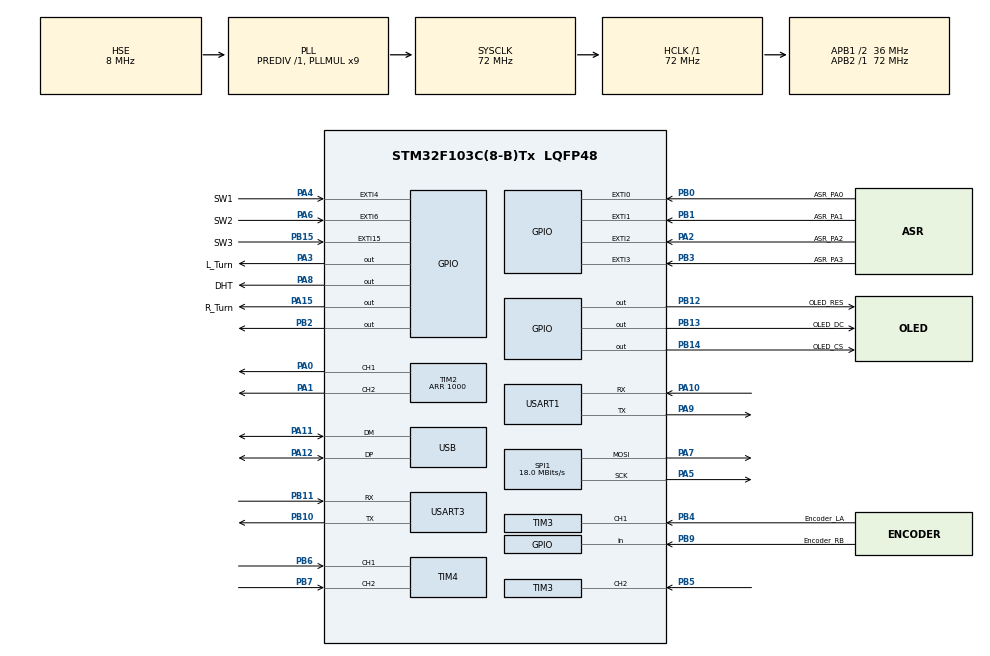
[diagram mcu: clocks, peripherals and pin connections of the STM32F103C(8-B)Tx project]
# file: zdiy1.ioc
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Mcu.Family=STM32F1
Mcu.Name=STM32F103C(8-B)Tx
Mcu.Package=LQFP48
NVIC.EXTI0_IRQn=true\:0\:0\:false\:false\:true\:true\:true\:true
NVIC.EXTI15_10_IRQn=true\:0\:0\:false\:false\:true\:true\:true\:true
NVIC.EXTI1_IRQn=true\:0\:0\:false\:false\:true\:true\:true\:true
NVIC.EXTI2_IRQn=true\:0\:0\:false\:false\:true\:true\:true\:true
NVIC.EXTI3_IRQn=true\:0\:0\:false\:false\:true\:true\:true\:true
NVIC.EXTI4_IRQn=true\:0\:0\:false\:false\:true\:true\:true\:true
NVIC.EXTI9_5_IRQn=true\:0\:0\:false\:false\:true\:true\:true\:true
NVIC.PriorityGroup=NVIC_PRIORITYGROUP_4
NVIC.TIM1_UP_IRQn=true\:0\:0\:false\:false\:true\:true\:true\:true
NVIC.USART1_IRQn=true\:0\:0\:false\:false\:true\:true\:true\:true
NVIC.USART3_IRQn=true\:0\:0\:false\:false\:true\:true\:true\:true
NVIC.USB_LP_CAN1_RX0_IRQn=true\:0\:0\:false\:false\:true\:false\:true\:true
PA0-WKUP.Signal=S_TIM2_CH1_ETR
PA1.Signal=S_TIM2_CH2
PA10.Mode=Asynchronous
PA10.Signal=USART1_RX
PA11.Mode=Device
PA11.Signal=USB_DM
PA12.Mode=Device
PA12.Signal=USB_DP
PA13.Mode=Serial_Wire
PA13.Signal=SYS_JTMS-SWDIO
PA14.Mode=Serial_Wire
PA14.Signal=SYS_JTCK-SWCLK
PA15.GPIO_Label=R_Turn
PA15.GPIO_PuPd=GPIO_PULLUP
PA15.Signal=GPIO_Output
PA2.GPIO_Label=ASR_PA2
PA2.GPIO_PuPd=GPIO_PULLDOWN
PA2.Signal=GPXTI2
PA3.GPIO_Label=L_Turn
PA3.GPIO_PuPd=GPIO_PULLUP
PA3.Signal=GPIO_Output
PA4.GPIO_Label=SW1
PA4.GPIO_PuPd=GPIO_PULLDOWN
PA4.Signal=GPXTI4
PA5.Mode=TX_Only_Simplex_Unidirect_Master
PA5.Signal=SPI1_SCK
PA6.GPIO_Label=SW2
PA6.GPIO_PuPd=GPIO_PULLDOWN
PA6.Signal=GPXTI6
PA7.Mode=TX_Only_Simplex_Unidirect_Master
PA7.Signal=SPI1_MOSI
PA8.GPIO_Label=DHT
PA8.GPIO_ModeDefaultOutputPP=GPIO_MODE_OUTPUT_PP
PA8.GPIO_PuPd=GPIO_PULLDOWN
PA8.GPIO_Speed=GPIO_SPEED_FREQ_HIGH
PA8.Signal=GPIO_Output
PA9.Mode=Asynchronous
PA9.Signal=USART1_TX
PB0.GPIO_Label=ASR_PA0
PB0.GPIO_PuPd=GPIO_PULLDOWN
PB0.Signal=GPXTI0
PB1.GPIO_Label=ASR_PA1
PB1.GPIO_PuPd=GPIO_PULLDOWN
PB1.Signal=GPXTI1
PB10.Mode=Asynchronous
PB10.Signal=USART3_TX
PB11.Mode=Asynchronous
PB11.Signal=USART3_RX
PB12.GPIO_Label=OLED_RES
PB12.GPIO_PuPd=GPIO_PULLDOWN
PB12.GPIO_Speed=GPIO_SPEED_FREQ_HIGH
PB12.Signal=GPIO_Output
PB13.GPIO_Label=OLED_DC
PB13.GPIO_PuPd=GPIO_PULLDOWN
PB13.GPIO_Speed=GPIO_SPEED_FREQ_HIGH
PB13.Signal=GPIO_Output
PB14.GPIO_Label=OLED_CS
PB14.GPIO_PuPd=GPIO_PULLDOWN
PB14.GPIO_Speed=GPIO_SPEED_FREQ_LOW
PB14.Signal=GPIO_Output
PB15.GPIO_Label=SW3
PB15.GPIO_PuPd=GPIO_PULLDOWN
PB15.Signal=GPXTI15
PB2.Signal=GPIO_Output
PB3.GPIO_Label=ASR_PA3
PB3.GPIO_PuPd=GPIO_PULLDOWN
PB3.Signal=GPXTI3
PB4.GPIO_Label=Encoder_LA
PB4.GPIO_PuPd=GPIO_PULLDOWN
PB4.Signal=S_TIM3_CH1
PB5.Signal=S_TIM3_CH2
PB6.Signal=S_TIM4_CH1
PB7.Signal=S_TIM4_CH2
PB9.GPIO_Label=Encoder_RB
PB9.GPIO_PuPd=GPIO_PULLDOWN
PB9.Signal=GPIO_Input
PD0-OSC_IN.Mode=HSE-External-Oscillator
PD0-OSC_IN.Signal=RCC_OSC_IN
PD1-OSC_OUT.Mode=HSE-External-Oscillator
PD1-OSC_OUT.Signal=RCC_OSC_OUT
ProjectManager.HeapSize=0x200
ProjectManager.StackSize=0x400
ProjectManager.TargetToolchain=Makefile
RCC.AHBFreq_Value=72000000
RCC.APB1CLKDivider=RCC_HCLK_DIV2
RCC.APB1Freq_Value=36000000
RCC.APB1TimFreq_Value=72000000
RCC.APB2Freq_Value=72000000
RCC.APB2TimFreq_Value=72000000
RCC.HCLKFreq_Value=72000000
RCC.PLLMUL=RCC_PLL_MUL9
RCC.PLLSourceVirtual=RCC_PLLSOURCE_HSE
RCC.SYSCLKFreq_VALUE=72000000
RCC.SYSCLKSource=RCC_SYSCLKSOURCE_PLLCLK
RCC.USBFreq_Value=48000000
RCC.USBPrescaler=RCC_USBCLKSOURCE_PLL_DIV1_5
SH.S_TIM2_CH1_ETR.0=TIM2_CH1,PWM Generation1 CH1
SH.S_TIM2_CH2.0=TIM2_CH2,PWM Generation2 CH2
SH.S_TIM3_CH1.0=TIM3_CH1,Encoder_Interface
SH.S_TIM3_CH2.0=TIM3_CH2,Encoder_Interface
SH.S_TIM4_CH1.0=TIM4_CH1,Encoder_Interface
SH.S_TIM4_CH2.0=TIM4_CH2,Encoder_Interface
SPI1.BaudRatePrescaler=SPI_BAUDRATEPRESCALER_4
SPI1.CalculateBaudRate=18.0 MBits/s
SPI1.Direction=SPI_DIRECTION_2LINES
SPI1.Mode=SPI_MODE_MASTER
SPI1.VirtualType=VM_MASTER
TIM1.Period=1000-1
TIM1.Prescaler=71
TIM2.Channel-PWM\ Generation1\ CH1=TIM_CHANNEL_1
TIM2.Channel-PWM\ Generation2\ CH2=TIM_CHANNEL_2
TIM2.Period=1000
TIM3.EncoderMode=TIM_ENCODERMODE_TI12
TIM4.EncoderMode=TIM_ENCODERMODE_TI12
USART1.VirtualMode=VM_ASYNC
USART3.VirtualMode=VM_ASYNC
USB_DEVICE.CLASS_NAME_FS=CDC
USB_DEVICE.VirtualMode=Cdc
USB_DEVICE.VirtualModeFS=Cdc_FS
VP_TIM1_VS_ClockSourceINT.Mode=Internal
VP_TIM2_VS_ClockSourceINT.Mode=Internal
VP_USB_DEVICE_VS_USB_DEVICE_CDC_FS.Mode=CDC_FS
board=custom

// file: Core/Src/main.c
/* USER CODE BEGIN Header */
/**
  ******************************************************************************
  * @file           : main.c
  * @brief          : Main program body
  ******************************************************************************
  * @attention
  *
  * Copyright (c) 2025 STMicroelectronics.
  * All rights reserved.
  *
  * This software is licensed under terms that can be found in the LICENSE file
  * in the root directory of this software component.
  * If no LICENSE file comes with this software, it is provided AS-IS.
  *
  ******************************************************************************
  */
/* USER CODE END Header */
#include "main.h"
#include "spi.h"
#include "tim.h"
#include "usart.h"
#include "usb_device.h"
#include "gpio.h"

/* USER CODE BEGIN Includes */
#include "mpu6050.h"
//#include "io_retargetToUart.h"
#include <stdio.h>
#include "usbd_cdc_if.h"
#include "oled.h"
#include "jy901s.h"
#include "wtr_calculate.h"
/* USER CODE END Includes */

void SystemClock_Config(void);
/* USER CODE BEGIN PFP */

// #endif
#ifdef __GNUC__
#define PUTCHAR_PROTOTYPE int __io_putchar(int ch)
#else
#define PUTCHAR_PROTOTYPE int fputc(int ch, FILE *f)
#endif

PUTCHAR_PROTOTYPE
{
    HAL_UART_Transmit(&huart1, (uint8_t *)&ch, 1, 100);
    return ch;
}

/* USER CODE END PFP */

/* USER CODE BEGIN 0 */
uint8_t tim_elapsed;
uint8_t left_ICflag;
uint8_t right_ICflag;
uint8_t captureEDGE[2];  //0==RISINGEDGE  1=FALLINGEDGE
int16_t left_cnt;
int16_t right_cnt;
float vel_left;
float vel_right;
PID_t left_pid,right_pid;
PID_t angle_pid;
PID_t gyro_pid;
float outputright,outputleft;
/* USER CODE END 0 */

int main(void)
{

  /* MCU Configuration--------------------------------------------------------*/

  /* Reset of all peripherals, Initializes the Flash interface and the Systick. */
  HAL_Init();

  /* Configure the system clock */
  SystemClock_Config();

  /* Initialize all configured peripherals */
  MX_GPIO_Init();
  MX_SPI1_Init();
  MX_USART1_UART_Init();
  MX_USART3_UART_Init();
  MX_TIM1_Init();
  MX_TIM2_Init();
  MX_USB_DEVICE_Init();
  MX_TIM3_Init();
  MX_TIM4_Init();
  /* USER CODE BEGIN 2 */
  //MPU_Init();
  SPI_PIN_Init();
  OLED_Init();
  JY901S_Init();
  char *TX = "I Love VCP\n";
  HAL_TIM_Base_Start(&htim2);
	HAL_TIM_Base_Start(&htim3);
	HAL_TIM_Base_Start(&htim4);
	HAL_TIM_Base_Start_IT(&htim1);
  HAL_TIM_PWM_Start(&htim2, TIM_CHANNEL_1);
  HAL_TIM_PWM_Start(&htim2, TIM_CHANNEL_2);
  pid_init(&left_pid, 40, 4, 0.5, 1000, 0,200);
  pid_init(&right_pid,40, 4, 0.5, 1000, 0,200);
  pid_init(&angle_pid,8, 0, 0.2, 160, 0,20);
  pid_init(&gyro_pid,0.3, 0.2, 0.0, 40, 0,8);
  HAL_TIM_Encoder_Start(&htim3,TIM_CHANNEL_1 | TIM_CHANNEL_2);
  HAL_TIM_Encoder_Start(&htim4,TIM_CHANNEL_1 | TIM_CHANNEL_2);
  __HAL_TIM_SetCounter(&htim3,65536/2);
  __HAL_TIM_SetCounter(&htim4,65536/2);
  /* USER CODE END 2 */

  /* Infinite loop */
  /* USER CODE BEGIN WHILE */
  while (1)
  {
    //MPU_Data_Get();
    //printf("Pitch: %.2f°, Roll: %.2f°\n", imu_data.pitch, imu_data.roll);
    //CDC_Transmit_FS(TX, strlen(TX));

    JY901S_Update();
    // OLED_DisplayTurn(1);
    // OLED_Refresh();

    // OLED_ShowString(0,0,"pitch:", 16);
    // OLED_ShowString(0,30,"velocity:", 16);
    // OLED_ShowNum(50,0,(int)left_cnt,5, 16);
    // OLED_ShowNum(50,30,(int)right_cnt,5, 16);

    // OLED_Refresh();
    // printf(" %d %d\n",left_cnt,right_cnt);
    /***********ANGLE&GYRO_PID_CONTROL************/
    angle_pid.ref=0;
    angle_pid.fdb=fAngle[0];
    PID_Calc_P(&angle_pid);
   if(fAngle[0]>-4&&fAngle[0]<4)  //dead band
   {
       angle_pid.output=0;
   }
   gyro_pid.ref=angle_pid.output;
   gyro_pid.fdb=fGyro[0];
   PID_Calc_P(&gyro_pid);
   // printf("angle:%.2f,gyro:%.2f\n",fAngle[0],fGyro[0]);
   // printf("lcnt:%f,rcnt:%f,angle_pid:%.2f,gyro_pid:%.2f,left_pid:%.2f,right_pid:%.2f\n",vel_left,vel_right,angle_pid.output,gyro_pid.output,left_pid.output,right_pid.output);
    // printf("%f,%f,%f\n",fAngle[0],vel_left,gyro_pid.output);
    printf("%f,%f,%f,%f,%f\n",fAngle[0],fGyro[0],angle_pid.output,vel_left,gyro_pid.output);
   /*
   ???????????????????????????????????????????
   ???????????
   ???????????????????????????????????????????p i?????(??????????)
   */

    /***********VELOCITY_CALCULATE&PID_CONTROL************/
    if(tim_elapsed)
    {
      left_cnt=__HAL_TIM_GET_COUNTER(&htim3)-65536/2;
      right_cnt=__HAL_TIM_GET_COUNTER(&htim4)-65536/2;
      vel_left=left_cnt;  //rpm/28.0)*60.0*100
      vel_right=right_cnt; //rpm/28.0)*60.0*100

      left_cnt=0;
      right_cnt=0;
      //printf("vel_left:%.2f,vel_right:%.2f,%f,%f\n",vel_left,vel_right,left_pid.output,right_pid.output);
      /***********PID_CONTROL************/
      left_pid.ref=gyro_pid.output;
      right_pid.ref=gyro_pid.output;
      left_pid.fdb=vel_left;
      right_pid.fdb=vel_right;
      PID_Calc_P(&left_pid);
      PID_Calc_P(&right_pid);
      if(left_pid.output>0)
      {
        HAL_GPIO_WritePin(L_Turn_GPIO_Port, L_Turn_Pin, GPIO_PIN_RESET);
        __HAL_TIM_SET_COMPARE(&htim2, TIM_CHANNEL_1, left_pid.output);
      }else
      {
        HAL_GPIO_WritePin(L_Turn_GPIO_Port, L_Turn_Pin, GPIO_PIN_SET);
        __HAL_TIM_SET_COMPARE(&htim2, TIM_CHANNEL_1, 1000+left_pid.output);
      }
      if(right_pid.output>0)
      {
        HAL_GPIO_WritePin(R_Turn_GPIO_Port, R_Turn_Pin, GPIO_PIN_RESET);
        __HAL_TIM_SET_COMPARE(&htim2, TIM_CHANNEL_2, right_pid.output);
      }else
      {
        HAL_GPIO_WritePin(R_Turn_GPIO_Port, R_Turn_Pin, GPIO_PIN_SET);
        __HAL_TIM_SET_COMPARE(&htim2, TIM_CHANNEL_2, 1000+right_pid.output);
      }

      __HAL_TIM_SetCounter(&htim3,65536/2);
      __HAL_TIM_SetCounter(&htim4,65536/2);
		   tim_elapsed=0;

      /***********PID_CONTROL************/
    }

    /***********VELOCITY_CALCULATE&PID_CONTROL************/

    /* USER CODE END WHILE */

  }
}

void SystemClock_Config(void)
{
  RCC_OscInitTypeDef RCC_OscInitStruct = {0};
  RCC_ClkInitTypeDef RCC_ClkInitStruct = {0};
  RCC_PeriphCLKInitTypeDef PeriphClkInit = {0};

  /** Initializes the RCC Oscillators according to the specified parameters
  * in the RCC_OscInitTypeDef structure.
  */
  RCC_OscInitStruct.OscillatorType = RCC_OSCILLATORTYPE_HSE;
  RCC_OscInitStruct.HSEState = RCC_HSE_ON;
  RCC_OscInitStruct.HSEPredivValue = RCC_HSE_PREDIV_DIV1;
  RCC_OscInitStruct.HSIState = RCC_HSI_ON;
  RCC_OscInitStruct.PLL.PLLState = RCC_PLL_ON;
  RCC_OscInitStruct.PLL.PLLSource = RCC_PLLSOURCE_HSE;
  RCC_OscInitStruct.PLL.PLLMUL = RCC_PLL_MUL9;
  if (HAL_RCC_OscConfig(&RCC_OscInitStruct) != HAL_OK)
  {
    Error_Handler();
  }

  /** Initializes the CPU, AHB and APB buses clocks
  */
  RCC_ClkInitStruct.ClockType = RCC_CLOCKTYPE_HCLK|RCC_CLOCKTYPE_SYSCLK
                              |RCC_CLOCKTYPE_PCLK1|RCC_CLOCKTYPE_PCLK2;
  RCC_ClkInitStruct.SYSCLKSource = RCC_SYSCLKSOURCE_PLLCLK;
  RCC_ClkInitStruct.AHBCLKDivider = RCC_SYSCLK_DIV1;
  RCC_ClkInitStruct.APB1CLKDivider = RCC_HCLK_DIV2;
  RCC_ClkInitStruct.APB2CLKDivider = RCC_HCLK_DIV1;

  if (HAL_RCC_ClockConfig(&RCC_ClkInitStruct, FLASH_LATENCY_2) != HAL_OK)
  {
    Error_Handler();
  }
  PeriphClkInit.PeriphClockSelection = RCC_PERIPHCLK_USB;
  PeriphClkInit.UsbClockSelection = RCC_USBCLKSOURCE_PLL_DIV1_5;
  if (HAL_RCCEx_PeriphCLKConfig(&PeriphClkInit) != HAL_OK)
  {
    Error_Handler();
  }
}

/* USER CODE BEGIN 4 */
void HAL_TIM_PeriodElapsedCallback(TIM_HandleTypeDef *htim)
{
  if(htim->Instance == TIM1)
  {
    tim_elapsed = 1;
  }
}
void HAL_TIM_IC_CaptureCallback(TIM_HandleTypeDef *htim)  //inputcapture:collect the data of the difference of time
{
	// if(htim->Instance==TIM3&&htim->Channel==HAL_TIM_ACTIVE_CHANNEL_1)
	// {
	// 	left_ICflag=1;
	// }
	// if(htim->Instance==TIM4&&htim->Channel==HAL_TIM_ACTIVE_CHANNEL_3)
	// {
	// 	right_ICflag=1;
	// }

}
/* USER CODE END 4 */

void Error_Handler(void)
{
  __disable_irq();
  while (1)
  {
  }
}
